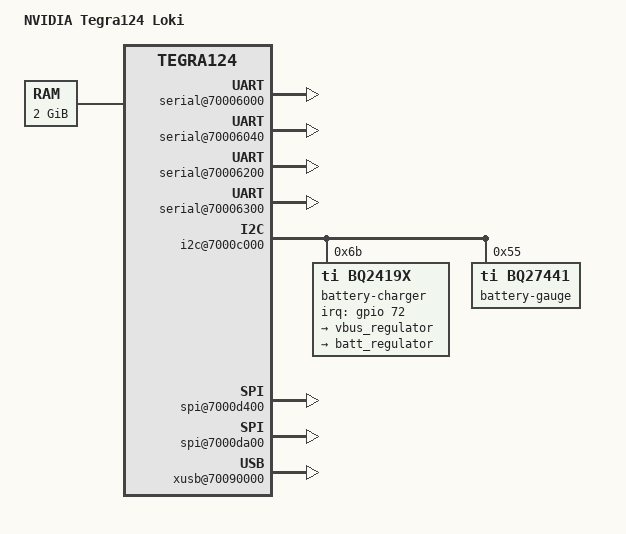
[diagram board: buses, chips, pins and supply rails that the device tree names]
/dts-v1/;

#include "tegra124-soc-shield.dtsi"
#include <dt-bindings/gpio/tegra-gpio.h>
#include <tegra124-platforms/tegra124-loki-gpio-default.dtsi>
#include <tegra124-platforms/tegra124-loki-pinmux.dtsi>
#include "tegra124-platforms/tegra124-loki-sensor.dtsi"

/ {
	model = "NVIDIA Tegra124 Loki";
	compatible = "nvidia,loki", "nvidia,tegra124";
	nvidia,dtsfilename = __FILE__;
	#address-cells = <2>;
	#size-cells = <2>;

	chosen {
		bootargs = "tegraid=40.0.0.00.00 vmalloc=256M video=tegrafb console=ttyS0,115200n8 earlyprintk";
		linux,initrd-start = <0x85000000>;
		linux,initrd-end = <0x851bc400>;
	};

	firmware {
		android {
			compatible = "android,firmware";
			hardware = "loki";
		};
	};

	serial@70006000 {
		compatible = "nvidia,tegra114-hsuart";
		status = "okay";
	};

	serial@70006040 {
		compatible = "nvidia,tegra114-hsuart";
		status = "okay";
	};

	serial@70006200 {
		compatible = "nvidia,tegra114-hsuart";
		status = "okay";
	};

	serial@70006300 {
		compatible = "nvidia,tegra20-uart", "nvidia,tegra114-hsuart";
		console-port;
		sqa-automation-port;
		status = "okay";
	};

	memory@0x80000000 {
		device_type = "memory";
		reg = <0x0 0x80000000 0x0 0x80000000>;
	};

	i2c@7000c000 {
		battery-charger@6b {
			compatible = "ti,bq2419x";
			reg = <0x6b>;
			interrupt-parent = <&gpio>;
			interrupts = <72 0x0>;
			ti,charging-term-current-mA = <100>;

			vbus {
				regulator-name = "vbus_regulator";
				ti,otg-iusb-gpio = <&gpio TEGRA_GPIO(I, 4) 0>;
				consumers {
					c1 {
						regulator-consumer-supply = "usb_vbus";
						regulator-consumer-device = "tegra-ehci.0";
					};

					c2 {
						regulator-consumer-supply = "usb_vbus";
						regulator-consumer-device = "tegra-otg";
					};
				};
			};

			charger {
				regulator-name = "batt_regulator";
				regulator-max-microamp = <3000000>;
				ti,watchdog-timeout = <40>;
				ti,rtc-alarm-time = <3600>;
				ti,auto-recharge-time = <1800>;
				ti,temp-polling-time-sec = <5>;
				ti,disbale-suspend-during-charging;
				ti,pre-charge-current-limit-milliamp = <768>;
				ti,charge-term-current-limit-milliamp = <384>;
				ti,ir-comp-resister-ohm = <70>;
				ti,ir-comp-voltage-millivolt = <112>;
				ti,thermal-regulation-threshold-degc = <100>;
				consumers {
					c1 {
						regulator-consumer-supply = "usb_bat_chg";
						regulator-consumer-device = "tegra-udc.0";
					};
				};
			};
		};

		battery-gauge@55 {
			compatible = "ti,bq27441";
			reg = <0x55>;
			ti,design-capacity = <7350>;
			ti,design-energy = <27195>;
			ti,taper-rate = <170>;
			ti,terminate-voltage = <3400>;
			ti,v-at-chg-term = <4200>;
			ti,tz-name = "Battery";
		};

	};

	i2c@7000d000 {
		nvidia,bit-banging-xfer-after-shutdown;

		tps65913 {
			extcon {
				extcon-name = "palmas-extcon";
			};
		};
	};

	spi@7000d400 {
		status = "okay";
		spi-max-frequency = <25000000>;
	};

	spi@7000da00 {
		status = "okay";
		spi-max-frequency = <25000000>;
	};

	pmc@7000e400 {
		status = "okay";
		nvidia,invert-interrupt;
		nvidia,suspend-mode = <3>;
		nvidia,cpu-pwr-good-time = <3500>;
		nvidia,cpu-pwr-off-time = <300>;
		nvidia,core-pwr-good-time = <3845 3845>;
		nvidia,core-pwr-off-time = <2000>;
		nvidia,core-power-req-active-high;
		nvidia,sys-clock-req-active-high;
	};

	xusb@70090000 {
		/* nvidia,uses_external_pmic;
		nvidia,gpio_controls_muxed_ss_lanes; */
		nvidia,gpio_ss1_sata = <0>;
		nvidia,portmap = <0x703>; /* SSP0, SSP1 USB2P0, USB2P1, USBP2 */
		nvidia,ss_portmap = <0x20>; /* SSP0 on USB2P0, SSP1 on USB2P2 */
		nvidia,lane_owner = <6>; /* USB3P0 USB3P1 */
		nvidia,ulpicap = <0>; /* No ulpi support. can we remove */
		status = "okay";
	};
};
